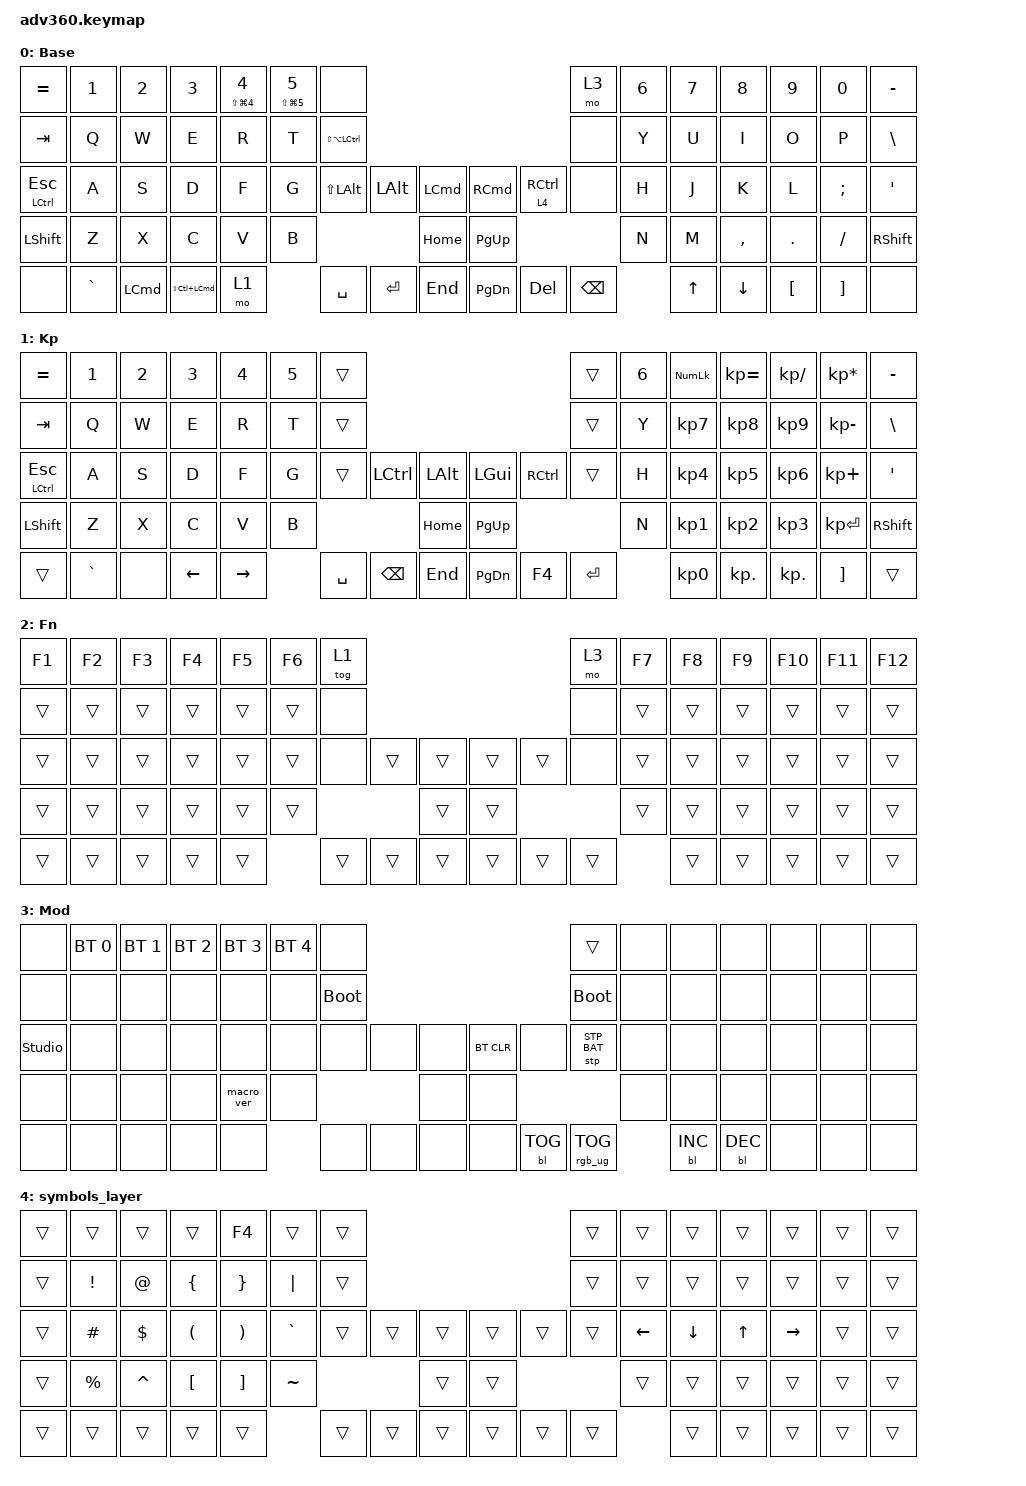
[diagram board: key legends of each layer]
#include <dt-bindings/zmk/stp.h>
#include <behaviors.dtsi>
#include <dt-bindings/zmk/backlight.h>
#include <dt-bindings/zmk/bt.h>
#include <dt-bindings/zmk/keys.h>
#include <dt-bindings/zmk/rgb.h>

&lt { tapping-term-ms = <150>; };

/ {
    behaviors {
        #include "macros.dtsi"
      #include "version.dtsi"

        hm: homerow_mods {
            compatible = "zmk,behavior-hold-tap";
            label = "HOMEROW_MODS";
            #binding-cells = <2>;
            tapping-term-ms = <175>;
            quick_tap_ms = <175>;
            flavor = "tap-preferred";
            bindings = <&kp>, <&kp>;
        };

        hm2: hm2 {
            compatible = "zmk,behavior-hold-tap";
            label = "HM2";
            bindings = <&kp>, <&kp>;

            #binding-cells = <2>;
            tapping-term-ms = <200>;
            quick-tap-ms = <200>;
            require-prior-idle-ms = <200>;
            flavor = "tap-preferred";
        };
    };

    keymap {
        compatible = "zmk,keymap";

        default_layer {
            display-name = "Base";
            bindings = <
&kp EQUAL                &kp N1     &kp N2            &kp N3                    &hm LS(LG(NUMBER_4)) NUMBER_4  &hm LS(LG(NUMBER_5)) NUMBER_5  &none                                                                                                 &mo 3          &kp N6  &kp N7  &kp N8     &kp N9    &kp N0         &kp MINUS
&kp TAB                  &kp Q      &kp W             &kp E                     &kp R                          &kp T                          &kp LS(LA(LEFT_CONTROL))                                                                              &none          &kp Y   &kp U   &kp I      &kp O     &kp P          &kp BSLH
&mt LEFT_CONTROL ESCAPE  &kp A      &kp S             &kp D                     &kp F                          &kp G                          &kp LS(LEFT_ALT)          &kp LEFT_ALT  &kp LEFT_COMMAND      &kp RIGHT_COMMAND  &lt 4 RIGHT_CONTROL  &none          &kp H   &kp J   &kp K      &kp L     &kp SEMICOLON  &kp SQT
&kp LSHFT                &kp Z      &kp X             &kp C                     &kp V                          &kp B                                                                  &kp HOME              &kp PG_UP                                              &kp N   &kp M   &kp COMMA  &kp DOT   &kp FSLH       &kp RSHFT
&none                    &kp GRAVE  &kp LEFT_COMMAND  &kp LS(LC(LEFT_COMMAND))  &mo 1                                                         &kp SPACE                 &kp ENTER     &kp END               &kp PAGE_DOWN      &kp DELETE           &kp BACKSPACE          &kp UP  &kp DOWN   &kp LBKT  &kp RBKT       &none
            >;
        };

        keypad {
            display-name = "Kp";
            bindings = <
&kp EQUAL             &kp N1     &kp N2  &kp N3    &kp N4     &kp N5  &trans                                                        &trans     &kp N6  &kp KP_NUM       &kp KP_EQUAL  &kp KP_DIVIDE  &kp KP_MULTIPLY  &kp MINUS
&kp TAB               &kp Q      &kp W   &kp E     &kp R      &kp T   &trans                                                        &trans     &kp Y   &kp KP_N7        &kp KP_N8     &kp KP_N9      &kp KP_MINUS     &kp BSLH
&mt LEFT_CONTROL ESC  &kp A      &kp S   &kp D     &kp F      &kp G   &trans     &kp LCTRL      &kp LALT      &kp LGUI   &kp RCTRL  &trans     &kp H   &kp KP_N4        &kp KP_N5     &kp KP_N6      &kp KP_PLUS      &kp SQT
&kp LSHFT             &kp Z      &kp X   &kp C     &kp V      &kp B                             &kp HOME      &kp PG_UP                        &kp N   &kp KP_N1        &kp KP_N2     &kp KP_N3      &kp KP_ENTER     &kp RSHFT
&trans                &kp GRAVE  &none   &kp LEFT  &kp RIGHT          &kp SPACE  &kp BACKSPACE  &kp END       &kp PG_DN  &kp F4     &kp ENTER          &kp KP_NUMBER_0  &kp KP_DOT    &kp KP_DOT     &kp RBKT         &trans
            >;
        };

        fn {
            display-name = "Fn";
            bindings = <
&kp F1  &kp F2  &kp F3  &kp F4  &kp F5  &kp F6  &tog 1                                      &mo 3   &kp F7  &kp F8  &kp F9  &kp F10  &kp F11  &kp F12
&trans  &trans  &trans  &trans  &trans  &trans  &none                                       &none   &trans  &trans  &trans  &trans   &trans   &trans
&trans  &trans  &trans  &trans  &trans  &trans  &none   &trans  &trans      &trans  &trans  &none   &trans  &trans  &trans  &trans   &trans   &trans
&trans  &trans  &trans  &trans  &trans  &trans                  &trans      &trans                  &trans  &trans  &trans  &trans   &trans   &trans
&trans  &trans  &trans  &trans  &trans          &trans  &trans  &trans      &trans  &trans  &trans          &trans  &trans  &trans   &trans   &trans
            >;
        };

        mod {
            display-name = "Mod";
            bindings = <
&none           &bt BT_SEL 0  &bt BT_SEL 1  &bt BT_SEL 2  &bt BT_SEL 3  &bt BT_SEL 4  &none                                                  &trans           &none  &none       &none       &none  &none  &none
&none           &none         &none         &none         &none         &none         &bootloader                                            &bootloader      &none  &none       &none       &none  &none  &none
&studio_unlock  &none         &none         &none         &none         &none         &none        &none  &none      &bt BT_CLR  &none       &stp STP_BAT     &none  &none       &none       &none  &none  &none
&none           &none         &none         &none         &macro_ver    &none                             &none      &none                                    &none  &none       &none       &none  &none  &none
&none           &none         &none         &none         &none                       &none        &none  &none      &none       &bl BL_TOG  &rgb_ug RGB_TOG         &bl BL_INC  &bl BL_DEC  &none  &none  &none
            >;
        };

        symbols_layer {
            bindings = <
&trans  &trans           &trans       &trans                &kp F4                 &trans     &trans                                      &trans  &trans    &trans    &trans        &trans     &trans  &trans
&trans  &kp EXCLAMATION  &kp AT_SIGN  &kp LEFT_BRACE        &kp RIGHT_BRACE        &kp PIPE   &trans                                      &trans  &trans    &trans    &trans        &trans     &trans  &trans
&trans  &kp HASH         &kp DOLLAR   &kp LEFT_PARENTHESIS  &kp RIGHT_PARENTHESIS  &kp GRAVE  &trans  &trans  &trans      &trans  &trans  &trans  &kp LEFT  &kp DOWN  &kp UP_ARROW  &kp RIGHT  &trans  &trans
&trans  &kp PERCENT      &kp CARET    &kp LEFT_BRACKET      &kp RIGHT_BRACKET      &kp TILDE                  &trans      &trans                  &trans    &trans    &trans        &trans     &trans  &trans
&trans  &trans           &trans       &trans                &trans                            &trans  &trans  &trans      &trans  &trans  &trans            &trans    &trans        &trans     &trans  &trans
            >;
        };
    };
};
